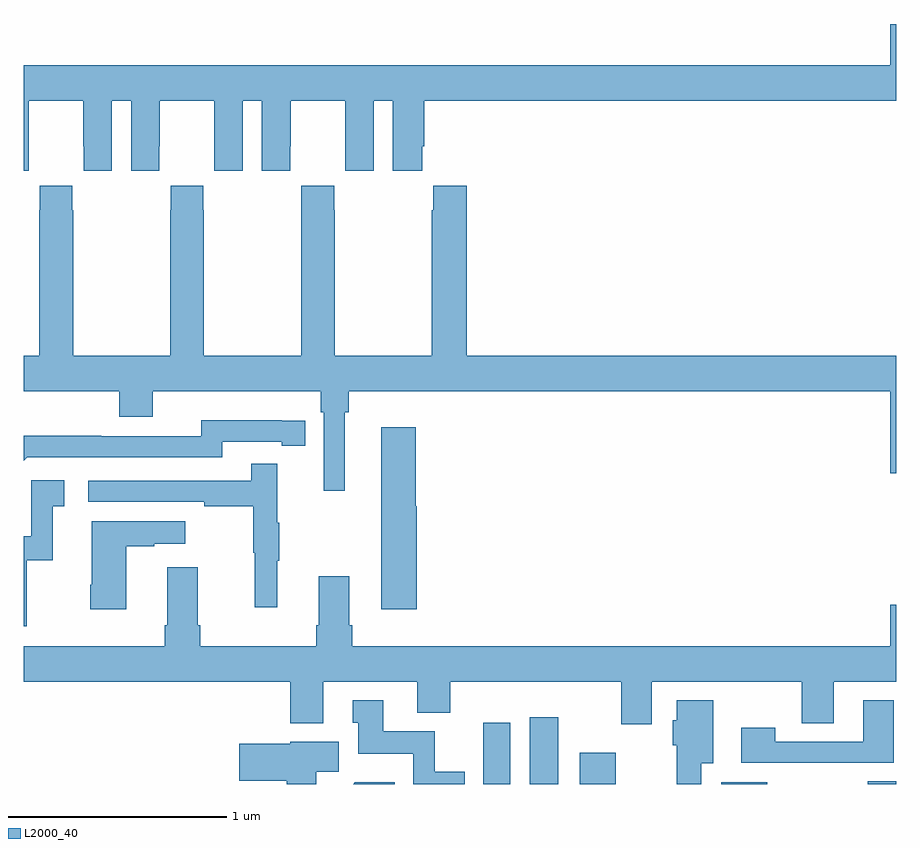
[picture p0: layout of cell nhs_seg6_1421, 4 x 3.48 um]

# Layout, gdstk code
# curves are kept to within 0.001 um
import gdstk
lib = gdstk.Library(unit=1e-6, precision=1e-09)
def R(c, l, rs):  # rectangles x0, y0, x1, y1
    for r in rs: c.add(gdstk.rectangle(r[:2], r[2:], *l))
def P(c, l, *ps):  # polygons
    for p in ps: c.add(gdstk.Polygon(p, *l))
L2000_40 = (2000, 40)

nhs_seg6_1421 = lib.new_cell('nhs_seg6_1421')
R(nhs_seg6_1421, L2000_40, [(199.106,981.5,199.231,981.781), (199.319,981.5,199.45,981.805), (199.55,981.5,199.714,981.643), (200.198,981.5,200.41,981.508), (200.87,981.5,201,981.512)])
P(nhs_seg6_1421, L2000_40, [(197.022,984.424),(197.023,984.424),(197.023,984.632),(197.273,984.632),(197.273,984.424),(197.274,984.424),(197.274,984.312),(197.404,984.312),(197.404,984.632),(197.492,984.632),(197.492,984.312),(197.622,984.312),(197.622,984.424),(197.623,984.424),(197.623,984.632),(197.873,984.632),(197.873,984.424),(197.874,984.424),(197.874,984.312),(198.004,984.312),(198.004,984.632),(198.092,984.632),(198.092,984.312),(198.222,984.312),(198.222,984.424),(198.223,984.424),(198.223,984.632),(198.473,984.632),(198.473,984.424),(198.474,984.424),(198.474,984.312),(198.604,984.312),(198.604,984.632),(198.692,984.632),(198.692,984.312),(198.826,984.312),(198.826,984.424),(198.836,984.424),(198.836,984.632),(201,984.632),(201,984.985),(200.972,984.985),(200.972,984.796),(197,984.796),(197,984.312),(197.022,984.312)],
  [(198.472,983.204),(198.491,983.204),(198.491,983.3),(200.972,983.3),(200.972,982.926),(201,982.926),(201,983.464),(199.031,983.464),(199.031,984.244),(198.877,984.244),(198.877,984.131),(198.871,984.131),(198.871,983.464),(198.426,983.464),(198.426,984.131),(198.423,984.131),(198.423,984.244),(198.273,984.244),(198.273,984.131),(198.271,984.131),(198.271,983.464),(197.826,983.464),(197.826,984.131),(197.823,984.131),(197.823,984.244),(197.673,984.244),(197.673,984.131),(197.671,984.131),(197.671,983.464),(197.226,983.464),(197.226,984.131),(197.223,984.131),(197.223,984.244),(197.073,984.244),(197.073,984.131),(197.071,984.131),(197.071,983.464),(197,983.464),(197,983.3),(197.438,983.3),(197.438,983.183),(197.59,983.183),(197.59,983.3),(198.362,983.3),(198.362,983.204),(198.375,983.204),(198.375,982.845),(198.472,982.845)],
  [(197.016,982.998),(197.91,982.998),(197.91,983.07),(198.182,983.07),(198.182,983.05),(198.29,983.05),(198.29,983.166),(197.814,983.167),(197.814,983.094),(197.354,983.094),(197.354,983.096),(197,983.096),(197,982.982)],
  [(198.802,982.773),(198.797,982.773),(198.797,983.137),(198.638,983.137),(198.638,982.302),(198.802,982.302)],
  [(198.161,982.523),(198.172,982.523),(198.172,982.697),(198.161,982.697),(198.161,982.969),(198.043,982.969),(198.043,982.89),(197.295,982.89),(197.295,982.794),(197.827,982.794),(197.827,982.774),(198.051,982.774),(198.051,982.56),(198.058,982.56),(198.058,982.311),(198.161,982.311)],
  [(197.014,982.527),(197.132,982.527),(197.132,982.773),(197.185,982.773),(197.185,982.894),(197.034,982.894),(197.034,982.635),(197,982.635),(197,982.224),(197.014,982.224)],
  [(197.47,982.591),(197.597,982.591),(197.597,982.601),(197.74,982.601),(197.74,982.705),(197.312,982.705),(197.312,982.414),(197.305,982.414),(197.305,982.302),(197.47,982.302)],
  [(199.879,981.968),(200.566,981.968),(200.566,981.778),(200.713,981.778),(200.713,981.968),(201,981.968),(201,982.321),(200.972,982.321),(200.972,982.132),(198.506,982.132),(198.506,982.228),(198.493,982.228),(198.493,982.453),(198.353,982.453),(198.353,982.228),(198.341,982.228),(198.341,982.132),(197.81,982.132),(197.81,982.228),(197.797,982.228),(197.797,982.495),(197.657,982.495),(197.657,982.228),(197.645,982.228),(197.645,982.132),(197,982.132),(197,981.968),(198.221,981.968),(198.221,981.779),(198.373,981.779),(198.373,981.968),(198.803,981.968),(198.803,981.827),(198.956,981.827),(198.956,981.968),(199.739,981.968),(199.739,981.774),(199.879,981.774)],
  [(199.021,981.556),(198.885,981.556),(198.885,981.742),(198.649,981.742),(198.649,981.883),(198.509,981.883),(198.509,981.78),(198.533,981.78),(198.533,981.638),(198.786,981.638),(198.786,981.5),(199.021,981.5)],
  [(200.107,981.596),(200.161,981.596),(200.161,981.883),(199.994,981.883),(199.994,981.792),(199.976,981.792),(199.976,981.678),(199.994,981.678),(199.994,981.5),(200.107,981.5)],
  [(200.989,981.883),(200.849,981.883),(200.849,981.693),(200.445,981.693),(200.445,981.757),(200.289,981.757),(200.289,981.597),(200.989,981.597)],
  [(198.34,981.556),(198.445,981.556),(198.445,981.694),(198.222,981.694),(198.222,981.685),(197.988,981.685),(197.988,981.515),(198.206,981.515),(198.206,981.5),(198.34,981.5)],
  [(198.701,981.508),(198.518,981.508),(198.51,981.5),(198.701,981.5)])

lib.write_gds('nhs_seg6_1421.gds')
